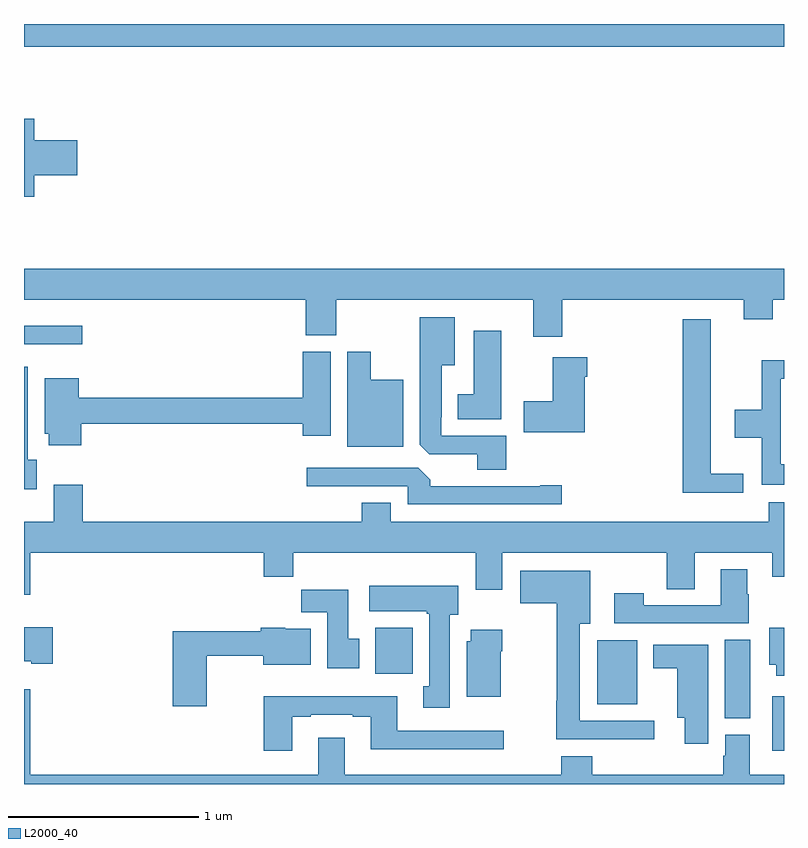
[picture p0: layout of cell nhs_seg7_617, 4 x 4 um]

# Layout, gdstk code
import gdstk
lib = gdstk.Library(unit=1e-6, precision=1e-09)
def R(c, l, rs):  # rectangles x0, y0, x1, y1
    for r in rs: c.add(gdstk.rectangle(r[:2], r[2:], *l))
def P(c, l, *ps):  # polygons
    for p in ps: c.add(gdstk.Polygon(p, *l))
L2000_40 = (2000, 40)

nhs_seg7_617 = lib.new_cell('nhs_seg7_617')
R(nhs_seg7_617, L2000_40, [(160.937,1066.176,161,1066.461), (160.688,1066.345,160.822,1066.76), (160.016,1066.421,160.228,1066.756), (158.849,1066.58,159.046,1066.822), (157,1068.315,157.306,1068.412), (157,1069.88,161,1070)])
P(nhs_seg7_617, L2000_40, [(157.054,1069.205),(157.279,1069.205),(157.279,1069.388),(157.054,1069.388),(157.054,1069.501),(157,1069.501),(157,1069.091),(157.054,1069.091)],
  [(159.833,1068.548),(160.787,1068.548),(160.787,1068.446),(160.94,1068.446),(160.94,1068.548),(161,1068.548),(161,1068.712),(157,1068.712),(157,1068.548),(158.483,1068.548),(158.483,1068.361),(158.643,1068.361),(158.643,1068.548),(159.68,1068.548),(159.68,1068.354),(159.833,1068.354)],
  [(159.539,1067.832),(159.195,1067.832),(159.195,1067.929),(159.199,1067.929),(159.199,1068.203),(159.268,1068.203),(159.268,1068.457),(159.083,1068.457),(159.083,1067.785),(159.132,1067.736),(159.386,1067.736),(159.386,1067.653),(159.539,1067.653)],
  [(160.786,1067.633),(160.615,1067.633),(160.615,1068.445),(160.466,1068.445),(160.466,1067.534),(160.786,1067.534)],
  [(159.511,1068.385),(159.368,1068.385),(159.368,1068.052),(159.284,1068.052),(159.284,1067.921),(159.511,1067.921)],
  [(157.301,1067.896),(158.468,1067.896),(158.468,1067.832),(158.614,1067.832),(158.614,1068.276),(158.468,1068.276),(158.468,1068.032),(157.288,1068.032),(157.288,1068.136),(157.109,1068.136),(157.109,1067.844),(157.13,1067.844),(157.13,1067.784),(157.301,1067.784)],
  [(158.995,1068.127),(158.824,1068.127),(158.824,1068.274),(158.702,1068.274),(158.702,1067.774),(158.995,1067.774)],
  [(159.952,1068.143),(159.965,1068.143),(159.965,1068.247),(159.782,1068.247),(159.782,1068.015),(159.63,1068.015),(159.63,1067.852),(159.952,1067.852)],
  [(161,1067.683),(160.983,1067.683),(160.983,1068.132),(161,1068.132),(161,1068.23),(160.882,1068.23),(160.882,1067.97),(160.74,1067.97),(160.74,1067.822),(160.882,1067.822),(160.882,1067.574),(161,1067.574)],
  [(157.066,1067.706),(157.021,1067.706),(157.021,1068.196),(157,1068.196),(157,1067.552),(157.066,1067.552)],
  [(159.829,1067.573),(159.716,1067.573),(159.716,1067.568),(159.137,1067.568),(159.137,1067.602),(159.075,1067.664),(158.487,1067.664),(158.487,1067.568),(159.021,1067.568),(159.021,1067.472),(159.829,1067.472)],
  [(157.033,1067.216),(158.261,1067.216),(158.261,1067.092),(158.417,1067.092),(158.417,1067.216),(159.377,1067.216),(159.377,1067.022),(159.517,1067.022),(159.517,1067.216),(160.384,1067.216),(160.384,1067.026),(160.531,1067.026),(160.531,1067.216),(160.937,1067.216),(160.937,1067.092),(161,1067.092),(161,1067.482),(160.919,1067.482),(160.919,1067.38),(158.929,1067.38),(158.929,1067.479),(158.777,1067.479),(158.777,1067.38),(157.31,1067.38),(157.31,1067.575),(157.157,1067.575),(157.157,1067.38),(157,1067.38),(157,1066.995),(157.033,1066.995)],
  [(160.815,1067),(160.807,1067),(160.807,1067.131),(160.667,1067.131),(160.667,1066.941),(160.263,1066.941),(160.263,1067.005),(160.107,1067.005),(160.107,1066.845),(160.815,1066.845)],
  [(160.318,1066.332),(159.925,1066.332),(159.925,1066.844),(159.979,1066.844),(159.979,1067.122),(159.612,1067.122),(159.612,1066.952),(159.805,1066.952),(159.805,1066.439),(159.8,1066.439),(159.8,1066.235),(160.318,1066.235)],
  [(159.241,1066.89),(159.286,1066.89),(159.286,1067.044),(158.817,1067.044),(158.817,1066.91),(159.121,1066.91),(159.121,1066.897),(159.134,1066.897),(159.134,1066.514),(159.101,1066.514),(159.101,1066.401),(159.241,1066.401)],
  [(158.764,1066.764),(158.707,1066.764),(158.707,1067.023),(158.458,1067.023),(158.458,1066.904),(158.597,1066.904),(158.597,1066.608),(158.764,1066.608)],
  [(157.15,1066.825),(157,1066.825),(157,1066.646),(157.037,1066.646),(157.037,1066.634),(157.15,1066.634)],
  [(157.962,1066.675),(158.258,1066.675),(158.258,1066.628),(158.509,1066.628),(158.509,1066.816),(158.376,1066.816),(158.376,1066.822),(158.246,1066.822),(158.246,1066.804),(157.784,1066.804),(157.784,1066.41),(157.962,1066.41)],
  [(161,1066.822),(160.922,1066.822),(160.922,1066.628),(160.958,1066.628),(160.958,1066.571),(161,1066.571)],
  [(159.508,1066.7),(159.516,1066.7),(159.516,1066.813),(159.35,1066.813),(159.35,1066.752),(159.329,1066.752),(159.329,1066.46),(159.508,1066.46)],
  [(160.6,1066.732),(160.313,1066.732),(160.313,1066.61),(160.439,1066.61),(160.439,1066.349),(160.478,1066.349),(160.478,1066.212),(160.6,1066.212)],
  [(161,1066.048),(160.819,1066.048),(160.819,1066.26),(160.691,1066.26),(160.691,1066.149),(160.679,1066.149),(160.679,1066.048),(159.992,1066.048),(159.992,1066.147),(159.827,1066.147),(159.827,1066.048),(158.689,1066.048),(158.689,1066.243),(158.549,1066.243),(158.549,1066.048),(157.033,1066.048),(157.033,1066.498),(157,1066.498),(157,1066),(161,1066)],
  [(158.413,1066.353),(158.509,1066.353),(158.509,1066.365),(158.729,1066.365),(158.729,1066.353),(158.825,1066.353),(158.825,1066.184),(159.526,1066.184),(159.526,1066.281),(158.965,1066.281),(158.965,1066.462),(158.261,1066.462),(158.261,1066.176),(158.413,1066.176)])

lib.write_gds('nhs_seg7_617.gds')
